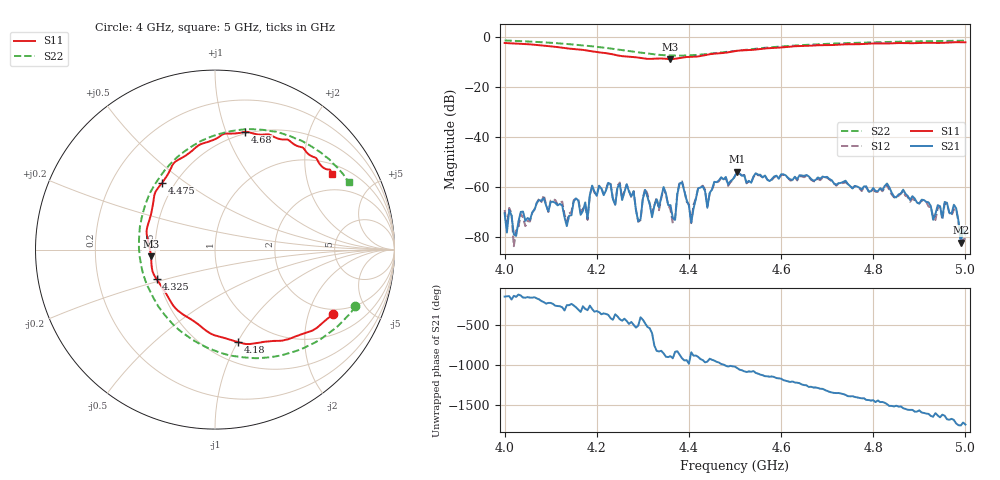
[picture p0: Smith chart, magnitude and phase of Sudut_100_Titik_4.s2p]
# Hz S RI R 50
! CMT, C1220, 16058040, 17.2.0/1
! Date: 15/08/2018 12:28:30
! Data: Format (Calibration Info)
! Freq  S11: Re/Im (F2)  S21: Re/Im (F2)  S12: Re/Im (F2)  S22: Re/Im (F2)
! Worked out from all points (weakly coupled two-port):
!   201 points, 4 GHz to 5 GHz, reference 50 ohm
!   highest |S21| = -53.82 dB at 4.505 GHz (marker M1); lowest = -82.2 dB at 4.99 GHz (marker M2)
!   lowest |S11| = -8.9 dB at 4.36 GHz (marker M3), VSWR 2.12, Z = 23.7 - j2.07 ohm
!   |S11| at or under -10 dB: nowhere
!   |S22| runs from -7.5 to -1.5 dB; largest |S21 - S12| = 0.00012
!   S11 on the Smith chart (normalised r, x): 4 GHz: 1.77, -2.94; 4.18 GHz: 0.70, -1.00; 4.325 GHz: 0.49, -0.19; 4.475 GHz: 0.43, +0.41; 4.68 GHz: 0.48, +1.17; 5 GHz: 1.33, +2.81
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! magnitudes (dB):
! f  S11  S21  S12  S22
! 4 GHz  -2.5  -70.5  -69.2  -1.5
! 4.02 GHz  -2.7  -78.8  -83.6  -1.6
! 4.085 GHz  -3.6  -64.5  -63.2  -2.2
! 4.17 GHz  -5.2  -69.6  -68.7  -3.4
! 4.18 GHz  -5.5  -72.7  -73.1  -3.6
! 4.19 GHz  -5.8  -59.4  -59.7  -3.8
! 4.225 GHz  -6.7  -58.3  -57.9  -4.6
! 4.325 GHz  -8.8  -67.4  -67.3  -7.0
! 4.335 GHz  -8.7  -68.2  -69.3  -7.2
! 4.36 GHz  -8.9  -67.2  -69.1  -7.5
! 4.385 GHz  -8.3  -58.1  -57.7  -7.5
! 4.405 GHz  -8.0  -74.2  -74.4  -7.4
! 4.42 GHz  -7.8  -60.5  -60.4  -7.2
! 4.475 GHz  -6.5  -56.9  -57.3  -6.1
! 4.5 GHz  -5.7  -55.6  -55.6  -5.6
! 4.505 GHz  -5.6  -53.8  -54.0  -5.5
! 4.67 GHz  -3.5  -57.5  -57.6  -3.1
! 4.68 GHz  -3.4  -56.2  -56.7  -3.0
! 4.835 GHz  -2.7  -60.2  -61.3  -2.1
! 4.975 GHz  -2.2  -67.1  -69.0  -1.6
! 4.99 GHz  -2.2  -82.2  -81.7  -1.6
! 5 GHz  -2.2  -78.9  -80.6  -1.6
